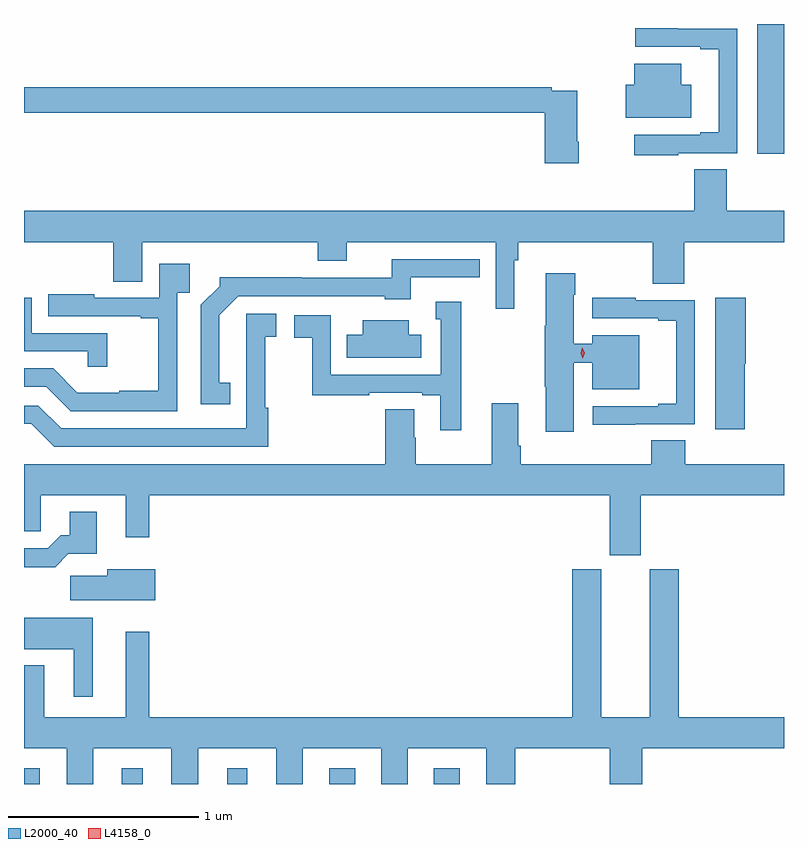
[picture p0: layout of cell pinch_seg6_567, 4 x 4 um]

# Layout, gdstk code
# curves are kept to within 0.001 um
import gdstk
lib = gdstk.Library(unit=1e-6, precision=1e-09)
def R(c, l, rs):  # rectangles x0, y0, x1, y1
    for r in rs: c.add(gdstk.rectangle(r[:2], r[2:], *l))
def P(c, l, *ps):  # polygons
    for p in ps: c.add(gdstk.Polygon(p, *l))
L2000_40 = (2000, 40)
L4158_0 = (4158, 0)

pinch_seg6_567 = lib.new_cell('pinch_seg6_567')
R(pinch_seg6_567, L2000_40, [(568.407,959.136,568.489,959.218), (568.922,959.136,569.032,959.218), (569.477,959.136,569.581,959.218), (570.014,959.136,570.151,959.218), (570.563,959.136,570.7,959.218), (572.267,962.454,572.407,963.136)])
P(pinch_seg6_567, L2000_40, [(571.85,962.457),(572.16,962.457),(572.16,963.111),(571.847,963.111),(571.847,963.113),(571.623,963.113),(571.623,963.015),(571.967,963.015),(571.967,963.003),(572.063,963.003),(572.063,962.566),(571.967,962.566),(571.967,962.553),(571.62,962.553),(571.62,962.445),(571.85,962.445)],
  [(571.918,962.815),(571.867,962.815),(571.867,962.926),(571.619,962.926),(571.619,962.815),(571.574,962.815),(571.574,962.642),(571.918,962.642)],
  [(571.326,962.515),(571.318,962.515),(571.318,962.784),(571.184,962.784),(571.184,962.804),(568.407,962.804),(568.407,962.668),(571.148,962.668),(571.148,962.403),(571.326,962.403)],
  [(570.988,961.892),(571.007,961.892),(571.007,961.988),(571.717,961.988),(571.717,961.768),(571.883,961.768),(571.883,961.988),(572.407,961.988),(572.407,962.152),(572.105,962.152),(572.105,962.372),(571.934,962.372),(571.934,962.152),(568.407,962.152),(568.407,961.988),(568.877,961.988),(568.877,961.78),(569.029,961.78),(569.029,961.988),(569.954,961.988),(569.954,961.889),(570.106,961.889),(570.106,961.988),(570.891,961.988),(570.891,961.638),(570.988,961.638)],
  [(569.492,961.247),(569.434,961.247),(569.434,961.603),(569.535,961.704),(570.306,961.704),(570.306,961.688),(570.442,961.688),(570.442,961.803),(570.806,961.803),(570.806,961.899),(570.343,961.899),(570.343,961.8),(569.87,961.8),(569.87,961.802),(569.436,961.802),(569.436,961.757),(569.337,961.658),(569.337,961.134),(569.492,961.134)],
  [(569.214,961.721),(569.279,961.721),(569.279,961.873),(569.118,961.873),(569.118,961.695),(568.777,961.695),(568.777,961.714),(568.534,961.714),(568.534,961.599),(569.021,961.599),(569.021,961.587),(569.113,961.587),(569.113,961.207),(568.907,961.207),(568.907,961.195),(568.688,961.195),(568.56,961.323),(568.407,961.323),(568.407,961.227),(568.524,961.227),(568.653,961.098),(569.214,961.098)],
  [(571.3,961.354),(571.397,961.354),(571.397,961.214),(571.645,961.214),(571.645,961.498),(571.397,961.498),(571.397,961.453),(571.3,961.453),(571.3,961.712),(571.308,961.712),(571.308,961.825),(571.154,961.825),(571.154,961.549),(571.147,961.549),(571.147,961.228),(571.154,961.228),(571.154,960.99),(571.3,960.99)],
  [(571.625,961.029),(571.938,961.029),(571.938,961.683),(571.628,961.683),(571.628,961.696),(571.398,961.696),(571.398,961.587),(571.745,961.587),(571.745,961.575),(571.841,961.575),(571.841,961.138),(571.745,961.138),(571.745,961.125),(571.401,961.125),(571.401,961.028),(571.625,961.028)],
  [(572.201,961.347),(572.206,961.347),(572.206,961.696),(572.045,961.696),(572.045,961.002),(572.201,961.002)],
  [(568.844,961.509),(568.449,961.509),(568.449,961.695),(568.407,961.695),(568.407,961.413),(568.743,961.413),(568.743,961.332),(568.844,961.332)],
  [(570.709,961.675),(570.575,961.675),(570.575,961.581),(570.6,961.581),(570.6,961.29),(570.021,961.29),(570.021,961.602),(569.829,961.602),(569.829,961.486),(569.923,961.486),(569.923,961.182),(570.224,961.182),(570.224,961.194),(570.503,961.194),(570.503,961.182),(570.599,961.182),(570.599,960.999),(570.709,960.999)],
  [(569.693,961.115),(569.676,961.115),(569.676,961.491),(569.734,961.491),(569.734,961.612),(569.576,961.612),(569.577,961.008),(568.602,961.008),(568.482,961.128),(568.407,961.128),(568.407,961.032),(568.446,961.032),(568.566,960.912),(569.693,960.912)],
  [(570.499,961.501),(570.433,961.501),(570.433,961.576),(570.191,961.576),(570.191,961.501),(570.106,961.501),(570.106,961.379),(570.499,961.379)],
  [(571.654,960.656),(572.407,960.656),(572.407,960.82),(571.886,960.82),(571.886,960.944),(571.709,960.944),(571.709,960.82),(571.022,960.82),(571.022,960.916),(571.009,960.916),(571.009,961.141),(570.869,961.141),(570.869,960.82),(570.468,960.82),(570.468,960.959),(570.46,960.959),(570.46,961.109),(570.308,961.109),(570.308,960.82),(568.407,960.82),(568.407,960.466),(568.494,960.466),(568.494,960.656),(568.943,960.656),(568.943,960.435),(569.065,960.435),(569.065,960.656),(571.49,960.656),(571.49,960.339),(571.654,960.339)],
  [(568.64,960.347),(568.789,960.347),(568.789,960.568),(568.649,960.568),(568.649,960.445),(568.6,960.445),(568.533,960.378),(568.407,960.378),(568.407,960.278),(568.571,960.278)],
  [(568.771,959.324),(569.183,959.324),(569.183,959.136),(569.323,959.136),(569.323,959.324),(569.735,959.324),(569.735,959.136),(569.875,959.136),(569.875,959.324),(570.287,959.324),(570.287,959.136),(570.427,959.136),(570.427,959.324),(570.839,959.324),(570.839,959.136),(570.992,959.136),(570.992,959.324),(571.49,959.324),(571.49,959.136),(571.661,959.136),(571.661,959.324),(572.407,959.324),(572.407,959.488),(571.853,959.488),(571.853,960.267),(571.7,960.267),(571.7,959.488),(571.444,959.488),(571.444,960.267),(571.292,960.267),(571.292,959.488),(569.065,959.488),(569.065,959.938),(568.943,959.938),(568.943,959.488),(568.513,959.488),(568.513,959.761),(568.407,959.761),(568.407,959.324),(568.631,959.324),(568.631,959.136),(568.771,959.136)],
  [(569.098,960.265),(568.844,960.265),(568.844,960.233),(568.65,960.233),(568.65,960.104),(569.098,960.104)],
  [(568.768,960.01),(568.407,960.01),(568.407,959.846),(568.67,959.846),(568.67,959.595),(568.768,959.595)])
P(pinch_seg6_567, L4158_0, [(571.348,961.378),(571.348,961.378),(571.337,961.404),(571.346,961.431),(571.346,961.431),(571.346,961.431),(571.357,961.405),(571.348,961.378)])

lib.write_gds('pinch_seg6_567.gds')
